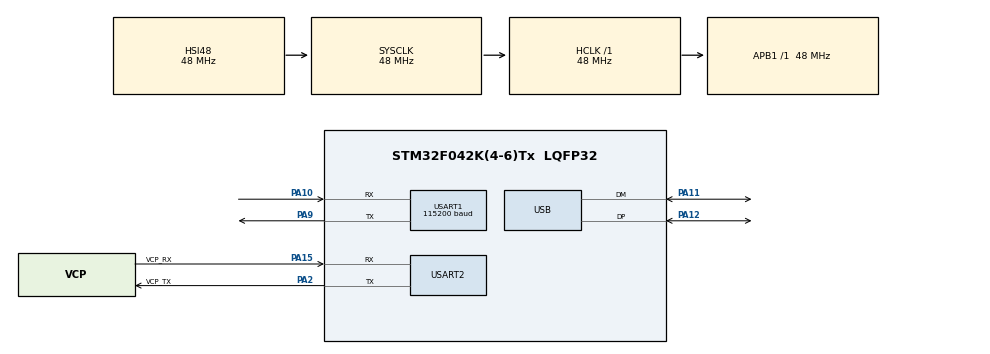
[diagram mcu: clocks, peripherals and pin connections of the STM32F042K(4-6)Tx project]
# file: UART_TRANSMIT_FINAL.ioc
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Dma.Request0=USART1_TX
Dma.Request1=USART1_RX
Dma.USART1_RX.1.Direction=DMA_PERIPH_TO_MEMORY
Dma.USART1_RX.1.Instance=DMA1_Channel3
Dma.USART1_RX.1.MemDataAlignment=DMA_MDATAALIGN_BYTE
Dma.USART1_RX.1.MemInc=DMA_MINC_ENABLE
Dma.USART1_RX.1.Mode=DMA_NORMAL
Dma.USART1_RX.1.PeriphDataAlignment=DMA_PDATAALIGN_BYTE
Dma.USART1_RX.1.PeriphInc=DMA_PINC_DISABLE
Dma.USART1_RX.1.Priority=DMA_PRIORITY_LOW
Dma.USART1_TX.0.Direction=DMA_MEMORY_TO_PERIPH
Dma.USART1_TX.0.Instance=DMA1_Channel2
Dma.USART1_TX.0.MemDataAlignment=DMA_MDATAALIGN_BYTE
Dma.USART1_TX.0.MemInc=DMA_MINC_ENABLE
Dma.USART1_TX.0.Mode=DMA_NORMAL
Dma.USART1_TX.0.PeriphDataAlignment=DMA_PDATAALIGN_BYTE
Dma.USART1_TX.0.PeriphInc=DMA_PINC_DISABLE
Dma.USART1_TX.0.Priority=DMA_PRIORITY_LOW
Mcu.Family=STM32F0
Mcu.Name=STM32F042K(4-6)Tx
Mcu.Package=LQFP32
NVIC.DMA1_Channel2_3_IRQn=true\:0\:0\:false\:false\:true\:false\:true\:true
NVIC.USART1_IRQn=true\:0\:0\:false\:false\:true\:true\:true\:true
NVIC.USB_IRQn=true\:0\:0\:false\:false\:true\:true\:true\:true
PA10.Mode=Asynchronous
PA10.Signal=USART1_RX
PA11.Mode=Device
PA11.Signal=USB_DM
PA12.Mode=Device
PA12.Signal=USB_DP
PA13.GPIO_Label=SWDIO
PA13.Signal=SYS_SWDIO
PA14.GPIO_Label=SWCLK
PA14.Signal=SYS_SWCLK
PA15.GPIO_Label=VCP_RX
PA15.Mode=Asynchronous
PA15.Signal=USART2_RX
PA2.GPIO_Label=VCP_TX
PA2.Mode=Asynchronous
PA2.Signal=USART2_TX
PA9.Mode=Asynchronous
PA9.Signal=USART1_TX
PF0-OSC_IN.GPIO_Label=MCO
PF0-OSC_IN.Signal=RCC_OSC_IN
ProjectManager.HeapSize=0x200
ProjectManager.StackSize=0x400
ProjectManager.TargetToolchain=STM32CubeIDE
RCC.AHBFreq_Value=48000000
RCC.APB1Freq_Value=48000000
RCC.APB1TimFreq_Value=48000000
RCC.HCLKFreq_Value=48000000
RCC.SYSCLKFreq_VALUE=48000000
RCC.SYSCLKSource=RCC_SYSCLKSOURCE_HSI48
TIM3.Period=3000-1
TIM3.Prescaler=48000-1
USART1.AutoBaudRateEnableParam=UART_ADVFEATURE_AUTOBAUDRATE_DISABLE
USART1.BaudRate=115200
USART1.VirtualMode-Asynchronous=VM_ASYNC
USART2.VirtualMode-Asynchronous=VM_ASYNC
USB_DEVICE.APP_RX_DATA_SIZE=128
USB_DEVICE.APP_TX_DATA_SIZE=128
USB_DEVICE.CLASS_NAME_FS=CDC
USB_DEVICE.VirtualMode=Cdc
USB_DEVICE.VirtualModeFS=Cdc_FS
VP_TIM3_VS_ClockSourceINT.Mode=Internal
VP_USB_DEVICE_VS_USB_DEVICE_CDC_FS.Mode=CDC_FS
board=NUCLEO-F042K6

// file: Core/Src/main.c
/* USER CODE BEGIN Header */
/**
  ******************************************************************************
  * @file           : main.c
  * @brief          : Main program body
  ******************************************************************************
  * @attention
  *
  * Copyright (c) 2024 STMicroelectronics.
  * All rights reserved.
  *
  * This software is licensed under terms that can be found in the LICENSE file
  * in the root directory of this software component.
  * If no LICENSE file comes with this software, it is provided AS-IS.
  *
  ******************************************************************************
  */
/* USER CODE END Header */
#include "main.h"
#include "usb_device.h"

/* USER CODE BEGIN Includes */
#include "uart_common.h"
#include"transmit_queue.h"
#include "uart_transmit.h"
#include <stdlib.h>
#include<string.h>
#include "usb_device.h"
#include "usbd_cdc_if.h"
/* USER CODE END Includes */

TIM_HandleTypeDef htim3;

UART_HandleTypeDef huart1;
UART_HandleTypeDef huart2;
DMA_HandleTypeDef hdma_usart1_tx;
DMA_HandleTypeDef hdma_usart1_rx;

void SystemClock_Config(void);
static void MX_GPIO_Init(void);
static void MX_DMA_Init(void);
static void MX_USART1_UART_Init(void);
static void MX_USART2_UART_Init(void);
static void MX_TIM3_Init(void);

/* USER CODE BEGIN 0 */
uint8_t corrupt_data =0;
uint8_t receive_flag;
uint8_t* tx_buffer_ptr;
struct connection* transmitter_con_ptr;
uint8_t* current_packet;
/* USER CODE END 0 */

int main(void)
{

  /* MCU Configuration--------------------------------------------------------*/

  /* Reset of all peripherals, Initializes the Flash interface and the Systick. */
  HAL_Init();

  /* Configure the system clock */
  SystemClock_Config();

  /* Initialize all configured peripherals */
  MX_GPIO_Init();
  MX_DMA_Init();
  MX_USART1_UART_Init();
  MX_USART2_UART_Init();
  MX_TIM3_Init();
  MX_USB_DEVICE_Init();
  /* USER CODE BEGIN 2 */
    struct transmit_queue transmit;
  	init_queue(&transmit);
  	struct data received_from_jetson;
  	received_from_jetson.x_coord = 2.22;
  	received_from_jetson.y_coord = 1.23;
  	received_from_jetson.z_coord = 4.45;
  	received_from_jetson.control = 64;
  	enqueue(&transmit,received_from_jetson);

  	struct data data_transmit;
  	dequeue(&transmit, &data_transmit);

  	uint8_t tx_buffer[DATA_SIZE];
   	tx_buffer_ptr = tx_buffer;

  	struct connection transmitter_con;
	transmitter_con.packet_size = PACKET_SIZE;
	transmitter_con.num_of_packets = DATA_SIZE/PACKET_SIZE;
	transmitter_con.total_size = DATA_SIZE;
	transmitter_con.handshake =0;
	transmitter_con.crc = calculate_crc((uint8_t *)&transmitter_con,3);

	transmitter_con_ptr = &transmitter_con;
	dataToBuffer(data_transmit,tx_buffer);

//  	uint8_t* ptr = &data_transmit;
//  	for (int i =0; i <27; i++){
//  		tx_buffer[i]= *ptr;
//  		ptr++;
//  	}
	HAL_UART_Transmit_DMA(&huart1, (uint8_t *)transmitter_con_ptr, PACKET_SIZE+1);

  /* USER CODE END 2 */

  /* Infinite loop */
  while (1)
  {

    /* USER CODE BEGIN 3 */
		char msg[128];
	    if(is_full(&transmit)){
	    	sprintf(msg, "TERMINATED: Transmission queue is full");
	        CDC_Transmit_FS((uint8_t*)msg, strlen(msg));
	    }

  }
  /* USER CODE END 3 */
}

void SystemClock_Config(void)
{
  RCC_OscInitTypeDef RCC_OscInitStruct = {0};
  RCC_ClkInitTypeDef RCC_ClkInitStruct = {0};
  RCC_PeriphCLKInitTypeDef PeriphClkInit = {0};

  /** Initializes the RCC Oscillators according to the specified parameters
  * in the RCC_OscInitTypeDef structure.
  */
  RCC_OscInitStruct.OscillatorType = RCC_OSCILLATORTYPE_HSI48;
  RCC_OscInitStruct.HSI48State = RCC_HSI48_ON;
  RCC_OscInitStruct.PLL.PLLState = RCC_PLL_NONE;
  if (HAL_RCC_OscConfig(&RCC_OscInitStruct) != HAL_OK)
  {
    Error_Handler();
  }

  /** Initializes the CPU, AHB and APB buses clocks
  */
  RCC_ClkInitStruct.ClockType = RCC_CLOCKTYPE_HCLK|RCC_CLOCKTYPE_SYSCLK
                              |RCC_CLOCKTYPE_PCLK1;
  RCC_ClkInitStruct.SYSCLKSource = RCC_SYSCLKSOURCE_HSI48;
  RCC_ClkInitStruct.AHBCLKDivider = RCC_SYSCLK_DIV1;
  RCC_ClkInitStruct.APB1CLKDivider = RCC_HCLK_DIV1;

  if (HAL_RCC_ClockConfig(&RCC_ClkInitStruct, FLASH_LATENCY_1) != HAL_OK)
  {
    Error_Handler();
  }
  PeriphClkInit.PeriphClockSelection = RCC_PERIPHCLK_USB|RCC_PERIPHCLK_USART1;
  PeriphClkInit.Usart1ClockSelection = RCC_USART1CLKSOURCE_PCLK1;
  PeriphClkInit.UsbClockSelection = RCC_USBCLKSOURCE_HSI48;

  if (HAL_RCCEx_PeriphCLKConfig(&PeriphClkInit) != HAL_OK)
  {
    Error_Handler();
  }
}

static void MX_TIM3_Init(void)
{

  TIM_ClockConfigTypeDef sClockSourceConfig = {0};
  TIM_MasterConfigTypeDef sMasterConfig = {0};

  htim3.Instance = TIM3;
  htim3.Init.Prescaler = 48000-1;
  htim3.Init.CounterMode = TIM_COUNTERMODE_UP;
  htim3.Init.Period = 3000-1;
  htim3.Init.ClockDivision = TIM_CLOCKDIVISION_DIV1;
  htim3.Init.AutoReloadPreload = TIM_AUTORELOAD_PRELOAD_DISABLE;
  if (HAL_TIM_Base_Init(&htim3) != HAL_OK)
  {
    Error_Handler();
  }
  sClockSourceConfig.ClockSource = TIM_CLOCKSOURCE_INTERNAL;
  if (HAL_TIM_ConfigClockSource(&htim3, &sClockSourceConfig) != HAL_OK)
  {
    Error_Handler();
  }
  sMasterConfig.MasterOutputTrigger = TIM_TRGO_RESET;
  sMasterConfig.MasterSlaveMode = TIM_MASTERSLAVEMODE_DISABLE;
  if (HAL_TIMEx_MasterConfigSynchronization(&htim3, &sMasterConfig) != HAL_OK)
  {
    Error_Handler();
  }

}

static void MX_USART1_UART_Init(void)
{

  huart1.Instance = USART1;
  huart1.Init.BaudRate = 115200;
  huart1.Init.WordLength = UART_WORDLENGTH_8B;
  huart1.Init.StopBits = UART_STOPBITS_1;
  huart1.Init.Parity = UART_PARITY_NONE;
  huart1.Init.Mode = UART_MODE_TX_RX;
  huart1.Init.HwFlowCtl = UART_HWCONTROL_NONE;
  huart1.Init.OverSampling = UART_OVERSAMPLING_16;
  huart1.Init.OneBitSampling = UART_ONE_BIT_SAMPLE_DISABLE;
  huart1.AdvancedInit.AdvFeatureInit = UART_ADVFEATURE_NO_INIT;
  if (HAL_UART_Init(&huart1) != HAL_OK)
  {
    Error_Handler();
  }

}

static void MX_USART2_UART_Init(void)
{

  huart2.Instance = USART2;
  huart2.Init.BaudRate = 38400;
  huart2.Init.WordLength = UART_WORDLENGTH_8B;
  huart2.Init.StopBits = UART_STOPBITS_1;
  huart2.Init.Parity = UART_PARITY_NONE;
  huart2.Init.Mode = UART_MODE_TX_RX;
  huart2.Init.HwFlowCtl = UART_HWCONTROL_NONE;
  huart2.Init.OverSampling = UART_OVERSAMPLING_16;
  huart2.Init.OneBitSampling = UART_ONE_BIT_SAMPLE_DISABLE;
  huart2.AdvancedInit.AdvFeatureInit = UART_ADVFEATURE_NO_INIT;
  if (HAL_UART_Init(&huart2) != HAL_OK)
  {
    Error_Handler();
  }

}

static void MX_DMA_Init(void)
{

  /* DMA controller clock enable */
  __HAL_RCC_DMA1_CLK_ENABLE();

  /* DMA interrupt init */
  /* DMA1_Channel2_3_IRQn interrupt configuration */
  HAL_NVIC_SetPriority(DMA1_Channel2_3_IRQn, 0, 0);
  HAL_NVIC_EnableIRQ(DMA1_Channel2_3_IRQn);

}

static void MX_GPIO_Init(void)
{

  /* GPIO Ports Clock Enable */
  __HAL_RCC_GPIOF_CLK_ENABLE();
  __HAL_RCC_GPIOA_CLK_ENABLE();

}

/* USER CODE BEGIN 4 */
void HAL_UART_TxCpltCallback(UART_HandleTypeDef *huart)
{
	if (transmitter_con_ptr->handshake == 0){
		HAL_UART_Receive_DMA(&huart1, &receive_flag, 1 );
	  }
	else if(transmitter_con_ptr->handshake == 1 && transmitter_con_ptr->total_size >0){
		uint8_t packet[PACKET_SIZE + 1];
		memset(packet,0,sizeof(packet));
		if(transmitter_con_ptr->total_size <PACKET_SIZE){
			memcpy(packet,current_packet,transmitter_con_ptr->total_size);
			transmitter_con_ptr->total_size =0;
		}
		memcpy(packet,current_packet,PACKET_SIZE);
		packet[PACKET_SIZE]= calculate_crc(packet,PACKET_SIZE+1);
		current_packet +=PACKET_SIZE;
		 transmitter_con_ptr->total_size -=transmitter_con_ptr->packet_size;
		HAL_UART_Transmit_DMA(&huart1, packet , transmitter_con_ptr->packet_size +1);
	}
	else if(transmitter_con_ptr->total_size ==0){
		HAL_UART_Receive_DMA(&huart1, &corrupt_data, 1 );
		HAL_TIM_Base_Start_IT(&htim3);
	}

}
void HAL_UART_RxCpltCallback(UART_HandleTypeDef *huart)
{
  if(corrupt_data !=0){
	  current_packet = tx_buffer_ptr+ PACKET_SIZE*(corrupt_data-1);
	  uint8_t packet[PACKET_SIZE + 1];
	  memcpy(packet,current_packet,PACKET_SIZE);
	  packet[PACKET_SIZE]= calculate_crc(packet,PACKET_SIZE);
	  HAL_UART_Transmit_DMA(&huart1, packet , transmitter_con_ptr->packet_size +1);
	  corrupt_data=0;
  }
  if (transmitter_con_ptr->handshake == 0){
	  if(receive_flag ==0){
		  transmitter_con_ptr->handshake = 1;
	  }
  }
  if(transmitter_con_ptr->handshake == 1){

		 current_packet = tx_buffer_ptr;
		 uint8_t packet[PACKET_SIZE + 1];

		 memcpy(packet,current_packet,PACKET_SIZE);
		 packet[PACKET_SIZE]= calculate_crc(packet,PACKET_SIZE);
		 current_packet +=PACKET_SIZE;
		 transmitter_con_ptr->total_size -=transmitter_con_ptr->packet_size;
		 HAL_UART_Transmit_DMA(&huart1, packet , transmitter_con_ptr->packet_size +1);

  }
}

void HAL_TIM_PeriodElapsedCallback(TIM_HandleTypeDef *htim) {
    if (htim->Instance == TIM3) {  // Timer TIM3 timeout
    	HAL_UART_DMAStop(&huart1);  // Stops any UART DMA (both TX and RX)
		memset(transmitter_con_ptr, 0, sizeof(*transmitter_con_ptr));

    }
}
/* USER CODE END 4 */

void Error_Handler(void)
{
  __disable_irq();
  while (1)
  {
  }
}
